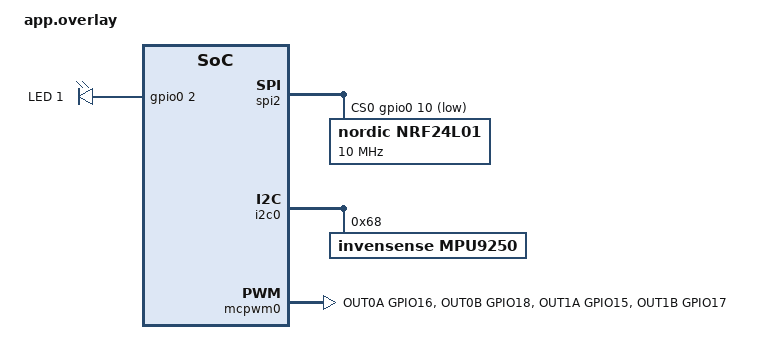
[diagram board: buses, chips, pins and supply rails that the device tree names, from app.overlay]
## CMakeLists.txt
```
# SPDX-License-Identifier: Apache-2.0

cmake_minimum_required(VERSION 3.20.0)
find_package(Zephyr REQUIRED HINTS $ENV{ZEPHYR_BASE})
project(drone)

target_sources(app PRIVATE
    src/main.c
    src/drone_receiver.c
    src/drone_mp9250.c
    src/drone_mc_controller.c
    src/drone_fsm.c
    src/drone_webserver.c
)
```

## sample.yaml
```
sample:
  name: Drone complete code
tests:
  sample.basic.blinky:
    tags:
      - LED
      - gpio
    filter: dt_enabled_alias_with_parent_compat("led0", "gpio-leds")
    depends_on: gpio
    harness: led
    integration_platforms:
      - frdm_k64f
```

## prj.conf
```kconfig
# Enable SPI
CONFIG_SPI=y

# Enable I2C (MPU9250)
CONFIG_I2C=y

# Enable FPU for float math (complementary filter)
CONFIG_FPU=y

# Enable GPIO
CONFIG_GPIO=y

# Enable PWM (MCPWM — 4-motor ESC control)
CONFIG_PWM=y

# Enable logging
CONFIG_LOG=y
CONFIG_LOG_MODE_IMMEDIATE=y

# Enable necessary kernel features

# Console and UART for logging
CONFIG_CONSOLE=y
CONFIG_UART_CONSOLE=y
CONFIG_SERIAL=y

# Disable Bluetooth if not needed
CONFIG_BT=n

# Logging
CONFIG_LOG=y
CONFIG_LOG_MODE_IMMEDIATE=y

# Enable the driver
#CONFIG_NRF24L01=y

CONFIG_ESP32_USE_UNSUPPORTED_REVISION=y

# ── WiFi ────────────────────────────────────────────────────────────
# WIFI_ESP32 is auto-enabled when DT has wifi/wifi_ap node with status=okay.
# It auto-selects NET_L2_ETHERNET, NET_L2_WIFI_MGMT, MBEDTLS.
CONFIG_WIFI=y
CONFIG_WIFI_NM=y
CONFIG_WIFI_NM_MAX_MANAGED_INTERFACES=2

# ── Net management events ────────────────────────────────────────────
CONFIG_NET_MGMT=y
CONFIG_NET_MGMT_EVENT=y
CONFIG_NET_MGMT_EVENT_INFO=y
CONFIG_NET_MGMT_EVENT_QUEUE_SIZE=10
CONFIG_NET_MGMT_EVENT_STACK_SIZE=2048

# Disable auto network config (we set IPs manually in code)
CONFIG_NET_CONFIG_AUTO_INIT=n

# Two IPv4 addresses: one for AP interface, one reserved for STA
CONFIG_NET_IF_MAX_IPV4_COUNT=2

# ── IPv4 TCP/IP stack ────────────────────────────────────────────────
CONFIG_NETWORKING=y
CONFIG_NET_IPV4=y
CONFIG_NET_TCP=y
CONFIG_NET_SOCKETS=y

# ── DHCP server (distributes IPs to WiFi clients) ───────────────────
CONFIG_NET_DHCPV4_SERVER=y

# ── Network buffers (sized for WiFi throughput) ──────────────────────
CONFIG_NET_PKT_RX_COUNT=16
CONFIG_NET_PKT_TX_COUNT=16
CONFIG_NET_BUF_RX_COUNT=64
CONFIG_NET_BUF_TX_COUNT=64
CONFIG_NET_BUF_DATA_SIZE=512

# ── Memory / thread stacks ───────────────────────────────────────────
CONFIG_HEAP_MEM_POOL_SIZE=65536
# main() only creates the FSM thread and returns.
CONFIG_MAIN_STACK_SIZE=2048
# Networking threads — defaults are sized for simple scenarios;
# WiFi AP + DHCP + TCP HTTP needs more headroom in every layer.
# Previous crashes (in order): sysworkq (1024), net_socket_service (2400).
CONFIG_SYSTEM_WORKQUEUE_STACK_SIZE=4096
CONFIG_NET_SOCKETS_SERVICE_STACK_SIZE=4096
CONFIG_NET_RX_STACK_SIZE=4096
CONFIG_NET_TCP_WORKQ_STACK_SIZE=4096
CONFIG_NET_TX_STACK_SIZE=2048
# Detect stack overflows with a clear "Stack overflow" panic.
CONFIG_STACK_SENTINEL=y

# ── Thread names visible in RTT/UART logs ───────────────────────────
CONFIG_THREAD_NAME=y
```

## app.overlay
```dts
/ {
    aliases {
        led1 = &led_1;
    };

    /* Soft-AP network interface — net_if_get_wifi_sap() returns this */
    wifi_ap: wifi_ap {
        compatible = "espressif,esp32-wifi";
        status = "okay";
    };

    leds {
        compatible = "gpio-leds";
        led_1: led_1 {
            gpios = <&gpio0 2 GPIO_ACTIVE_HIGH>;
            label = "LED 1";
        };
    };
};



/*
 * Overlay simplifié pour ESP32 avec nRF24L01
 */



&spi2 {
    status = "okay";
    cs-gpios = <&gpio0 10 GPIO_ACTIVE_LOW>;
      nrf24l01: nrf24l01@0 {
        compatible = "nordic,nrf24l01";
        reg = <0>;
        spi-max-frequency = <10000000>;
    };
};

&i2c0 {
    status = "okay";
    mpu9250@68 {
        compatible = "invensense,mpu9250";
        reg = <0x68>;
        label = "MPU9250";

        /* PROPRIÉTÉS OBLIGATOIRES */
        gyro-sr-div = <0>;          // Sample rate divider
        gyro-dlpf = <250>;            // Digital low pass filter
        gyro-fs = <250>;              // Full scale (0 = 250 dps)

        accel-dlpf = "218.1";
        accel-fs = <8>;
    };
};


#include <zephyr/dt-bindings/pwm/pwm.h>

/* ── Pin control ───────────────────────────────────────────────────── */
&pinctrl {
    mcpwm0_default: mcpwm0_default {

        /* FIX: Timer 0 outputs in their own group */
        group1 {
            pinmux = <MCPWM0_OUT0A_GPIO16>,  /* Motor 1 — ch 0 */
                     <MCPWM0_OUT0B_GPIO18>,  /* Motor 2 — ch 1 */
					 <MCPWM0_OUT1A_GPIO15>,  /* Motor 3 — ch 2 */
                     <MCPWM0_OUT1B_GPIO17>;  /* Motor 4 — ch 3 */
            output-enable;
        };

       
    };
};

/* ── MCPWM peripheral ──────────────────────────────────────────────── */
&mcpwm0 {
    status = "okay";
    pinctrl-0 = <&mcpwm0_default>;
    pinctrl-names = "default";

    /* FIX: prescale recalculated for 1 µs resolution (was 255) */
    prescale        = <7>;    /* 160 MHz / 8  = 20 MHz          */

    /* FIX: timer0 prescale corrected (was 124 → ~200 µs/count) */
    prescale-timer0 = <19>;   /* 20 MHz  / 20 =  1 MHz (1 µs)  */

    /* FIX: timer1 prescale added — required for channels 2 & 3  */
    prescale-timer1 = <19>;   /* same resolution for motors 3&4 */
};
```

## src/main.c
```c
#include <zephyr/kernel.h>
#include "drone_fsm.h"

/* Give the FSM its own clean stack — no Zephyr pre-main overhead here.
 * 16 KB accommodates I2C/SPI driver call chains + interrupt frames. */
#define FSM_STACK_SIZE  16384
K_THREAD_STACK_DEFINE(fsm_stack, FSM_STACK_SIZE);
static struct k_thread fsm_thread;

static void fsm_entry(void *a, void *b, void *c)
{
    drone_fsm_run();
}

int main(void)
{
    k_thread_create(&fsm_thread, fsm_stack,
                    K_THREAD_STACK_SIZEOF(fsm_stack),
                    fsm_entry, NULL, NULL, NULL,
                    5, 0, K_NO_WAIT);
    k_thread_name_set(&fsm_thread, "drone_fsm");
    return 0;
}
```

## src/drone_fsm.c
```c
#include <zephyr/kernel.h>
#include <zephyr/logging/log.h>

#include "drone_fsm.h"
#include "drone_receiver.h"
#include "drone_mpu9250.h"
#include "drone_mc_controller.h"
#include "drone_webserver.h"

LOG_MODULE_REGISTER(drone_fsm, LOG_LEVEL_INF);

/* ── Tuning ────────────────────────────────────────────────────────────
 *
 * ARM_CONFIRM_MS      : pilot must hold throttle=0 + drone_active=true
 *                       for this long before the drone arms (anti-accident)
 *
 * FAILSAFE_TIMEOUT_MS : after signal loss, wait this long for recovery
 *                       before triggering auto-landing
 *
 * LANDING_STEP_MS     : interval between each throttle decrement in LANDING
 * LANDING_STEP_PCT    : % of throttle dropped each step
 *                       total landing time ≈ (100/STEP) * STEP_MS
 *
 * THROTTLE_FLY_THRESHOLD : raw y_left (0-1023) above which the drone is
 *                          considered "flying" and RC mixing is applied
 *
 * FAILSAFE_HOLD_PCT   : constant throttle (%) applied while waiting for
 *                       signal recovery in FAILSAFE — tune to approximate
 *                       the hover point of your drone
 * ──────────────────────────────────────────────────────────────────── */
#define ARM_CONFIRM_MS          500U
#define FAILSAFE_TIMEOUT_MS    2000U
#define LANDING_STEP_MS         200U
#define LANDING_STEP_PCT          2U
#define THROTTLE_FLY_THRESHOLD   50
#define FAILSAFE_HOLD_PCT        25U

/* ── Module state ─────────────────────────────────────────────────── */
static drone_state_t current_state = DRONE_STATE_INIT;
static int64_t       state_enter_ms;

/* LANDING context */
static uint8_t  landing_throttle;
static int64_t  last_landing_step_ms;

/* ── Internal helpers ─────────────────────────────────────────────── */

static void enter_state(drone_state_t next)
{
    LOG_INF("FSM: %s -> %s",
            drone_fsm_state_name(current_state),
            drone_fsm_state_name(next));
    current_state  = next;
    state_enter_ms = k_uptime_get();
}

/* Arm condition: remote is on AND throttle stick at minimum */
static bool arm_condition(const struct DataPackage *rc)
{
    return rc->drone_active && (rc->y_left <= 0);
}

/* ── State handlers ───────────────────────────────────────────────── */

static void state_idle(const struct DataPackage *rc)
{
    motors_set_all(0);

    if (arm_condition(rc)) {
        enter_state(DRONE_STATE_ARMING);
    }
}

static void state_arming(const struct DataPackage *rc)
{
    motors_set_all(0);

    if (!arm_condition(rc)) {
        /* Pilot moved throttle or signal dropped — abort */
        enter_state(DRONE_STATE_IDLE);
        return;
    }

    if ((k_uptime_get() - state_enter_ms) >= ARM_CONFIRM_MS) {
        LOG_INF("Drone ARMED — raise throttle to fly");
        enter_state(DRONE_STATE_ARMED);
    }
}

static void state_armed(const struct DataPackage *rc)
{
    motors_set_all(0);

    if (!rc->drone_active) {
        LOG_INF("RC lost while ARMED — disarming");
        enter_state(DRONE_STATE_IDLE);
        return;
    }

    if (rc->y_left > THROTTLE_FLY_THRESHOLD) {
        enter_state(DRONE_STATE_FLYING);
    }
}

static void state_flying(const struct DataPackage *rc)
{
    if (!rc->drone_active) {
        LOG_WRN("Signal lost in flight — FAILSAFE");
        enter_state(DRONE_STATE_FAILSAFE);
        return;
    }

    /* Throttle back to zero: pilot landed */
    if (rc->y_left <= 0) {
        motors_set_all(0);
        enter_state(DRONE_STATE_ARMED);
        return;
    }

    motors_set_from_rc(rc);
}

static void state_failsafe(const struct DataPackage *rc)
{
    if (rc->drone_active) {
        LOG_INF("Signal recovered — resuming FLYING");
        enter_state(DRONE_STATE_FLYING);
        return;
    }

    if ((k_uptime_get() - state_enter_ms) >= FAILSAFE_TIMEOUT_MS) {
        LOG_WRN("Failsafe timeout — auto-landing");
        landing_throttle  = FAILSAFE_HOLD_PCT;
        last_landing_step_ms = k_uptime_get();
        enter_state(DRONE_STATE_LANDING);
        return;
    }

    /* Hold a low throttle while waiting for signal recovery.
     * NOTE: without a PID loop this is open-loop — tune FAILSAFE_HOLD_PCT
     * to your drone's approximate hover point so it descends slowly. */
    motors_set_all(FAILSAFE_HOLD_PCT);
}

static void state_landing(const struct DataPackage *rc)
{
    (void)rc;

    if (landing_throttle == 0) {
        motors_set_all(0);
        LOG_INF("Landing complete");
        enter_state(DRONE_STATE_IDLE);
        return;
    }

    int64_t now = k_uptime_get();
    if ((now - last_landing_step_ms) >= LANDING_STEP_MS) {
        if (landing_throttle > LANDING_STEP_PCT) {
            landing_throttle -= LANDING_STEP_PCT;
        } else {
            landing_throttle = 0;
        }
        motors_set_all(landing_throttle);
        last_landing_step_ms = now;
    }
}

static void state_error(const struct DataPackage *rc)
{
    (void)rc;
    motors_set_all(0);
    /* Stay here until hardware reset */
}

/* ── Public API ───────────────────────────────────────────────────── */

drone_state_t drone_fsm_get_state(void)
{
    return current_state;
}

const char *drone_fsm_state_name(drone_state_t state)
{
    switch (state) {
    case DRONE_STATE_INIT:     return "INIT";
    case DRONE_STATE_IDLE:     return "IDLE";
    case DRONE_STATE_ARMING:   return "ARMING";
    case DRONE_STATE_ARMED:    return "ARMED";
    case DRONE_STATE_FLYING:   return "FLYING";
    case DRONE_STATE_FAILSAFE: return "FAILSAFE";
    case DRONE_STATE_LANDING:  return "LANDING";
    case DRONE_STATE_ERROR:    return "ERROR";
    default:                   return "UNKNOWN";
    }
}

void drone_fsm_run(void)
{
    /* ── Hardware init ───────────────────────────────────────────── */
    nrf_driver_init();

    if (motor_esc_init() < 0) {
        LOG_ERR("ESC init failed");
        enter_state(DRONE_STATE_ERROR);
        goto loop;
    }

    if (mpu9250_driver_init() < 0) {
        LOG_ERR("MPU9250 init failed");
        motors_set_all(0);
        enter_state(DRONE_STATE_ERROR);
        goto loop;
    }

    /* Start WiFi AP + HTTP control server in background */
    drone_webserver_start();

    enter_state(DRONE_STATE_IDLE);

loop:
    /* ── Main loop at MPU9250_LOOP_HZ (250 Hz) ──────────────────── */
    while (1) {
        int64_t t_start = k_uptime_get();

        if (mpu9250_update() < 0 && current_state != DRONE_STATE_ERROR) {
            LOG_ERR("IMU read error — ERROR");
            motors_set_all(0);
            enter_state(DRONE_STATE_ERROR);
        }

        /* NRF24 RC packet (last received, never cleared on signal loss) */
        struct DataPackage rc = read_data();

        /* WiFi RC overrides NRF24 when the web interface is active.
         * drone_webserver_get_rc() returns active=false if no POST
         * was received in the last 500 ms (stale guard).            */
        struct DataPackage wifi_rc = drone_webserver_get_rc();
        if (wifi_rc.drone_active) {
            rc = wifi_rc;
        }

        switch (current_state) {
        case DRONE_STATE_INIT:
        case DRONE_STATE_IDLE:     state_idle(&rc);     break;
        case DRONE_STATE_ARMING:   state_arming(&rc);   break;
        case DRONE_STATE_ARMED:    state_armed(&rc);    break;
        case DRONE_STATE_FLYING:   state_flying(&rc);   break;
        case DRONE_STATE_FAILSAFE: state_failsafe(&rc); break;
        case DRONE_STATE_LANDING:  state_landing(&rc);  break;
        case DRONE_STATE_ERROR:    state_error(&rc);    break;
        }

        /* Deadline sleep to maintain 250 Hz */
        int64_t elapsed = k_uptime_get() - t_start;
        int32_t sleep   = MPU9250_LOOP_MS - (int32_t)elapsed;
        if (sleep > 0) {
            k_sleep(K_MSEC(sleep));
        }
    }
}
```

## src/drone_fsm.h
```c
#ifndef DRONE_FSM_H
#define DRONE_FSM_H

typedef enum {
    DRONE_STATE_INIT      = 0,
    DRONE_STATE_IDLE      = 1,
    DRONE_STATE_ARMING    = 2,
    DRONE_STATE_ARMED     = 3,
    DRONE_STATE_FLYING    = 4,
    DRONE_STATE_FAILSAFE  = 5,
    DRONE_STATE_LANDING   = 6,
    DRONE_STATE_ERROR     = 7,
} drone_state_t;

/* Start the FSM — never returns */
void drone_fsm_run(void);

/* Read current state */
drone_state_t drone_fsm_get_state(void);

/* Human-readable name for logging */
const char *drone_fsm_state_name(drone_state_t state);

#endif /* DRONE_FSM_H */
```

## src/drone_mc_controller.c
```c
/*
 * drone_mc_controller.c — 4-motor ESC control via MCPWM (ESP32-S3 / Zephyr RTOS)
 *
 * Channel → GPIO mapping:
 *   Channel 0 → GPIO 18  (Motor 1 — Front-Left)
 *   Channel 1 → GPIO 17  (Motor 2 — Front-Right)
 *   Channel 2 → GPIO 16  (Motor 3 — Rear-Left)
 *   Channel 3 → GPIO 15  (Motor 4 — Rear-Right)
 */

#include <zephyr/kernel.h>
#include <zephyr/drivers/pwm.h>
#include <zephyr/logging/log.h>

#include "drone_mc_controller.h"

LOG_MODULE_REGISTER(esc_4motors, LOG_LEVEL_INF);

/* ── PWM device ─────────────────────────────────────────────────────── */
#define ESC_PWM_NODE  DT_NODELABEL(mcpwm0)

/* ── Channels (match overlay pin mapping) ───────────────────────────── */
#define NUM_MOTORS  4

/* ── Timing (nanoseconds) ───────────────────────────────────────────── */
#define ESC_PERIOD_NS      20000000U  /* 20 ms  = 50 Hz          */
#define ESC_PULSE_MIN_NS    1000000U  /* 1000 µs = disarmed/idle */
#define ESC_PULSE_MAX_NS    2000000U  /* 2000 µs = full throttle */
#define ESC_ARM_MS             3000U  /* arming hold time        */

/* Motor channel lookup table */
static const uint8_t motor_ch[NUM_MOTORS] = {
    MOTOR_FRONT_LEFT,   /* 0 — GPIO 18 */
    MOTOR_FRONT_RIGHT,  /* 1 — GPIO 17 */
    MOTOR_REAR_LEFT,    /* 2 — GPIO 16 */
    MOTOR_REAR_RIGHT,   /* 3 — GPIO 15 */
};

static const struct device *esc_pwm;

/* ── Low-level helper ───────────────────────────────────────────────── */

/**
 * @brief  Send a raw pulse width (µs) to one motor channel.
 *         Clamped to [1000, 2000] µs.
 */
static int motor_set_pulse_us(uint8_t motor_idx, uint32_t pulse_us)
{
    if (motor_idx >= NUM_MOTORS) {
        return -EINVAL;
    }
    if (pulse_us < 1000U) { pulse_us = 1000U; }
    if (pulse_us > 2000U) { pulse_us = 2000U; }

    int ret = pwm_set(esc_pwm,
                      motor_ch[motor_idx],
                      ESC_PERIOD_NS,
                      pulse_us * 1000U,      /* µs → ns */
                      PWM_POLARITY_NORMAL);
    if (ret) {
        LOG_ERR("Motor %u pwm_set failed: %d", motor_idx + 1, ret);
    }
    return ret;
}

/* ── Public API ─────────────────────────────────────────────────────── */

int motor_set_throttle(uint8_t motor_idx, uint8_t percent)
{
    if (percent > 100U) { percent = 100U; }

    uint32_t pulse_us = 1000U + (uint32_t)percent * 10U;
    LOG_DBG("Motor %u → %3u%%  (%u µs)", motor_idx + 1, percent, pulse_us);
    return motor_set_pulse_us(motor_idx, pulse_us);
}

int motors_set_all(uint8_t percent)
{
    int ret = 0;
    for (uint8_t i = 0; i < NUM_MOTORS; i++) {
        ret |= motor_set_throttle(i, percent);
    }
    return ret;
}

/* ── Arming sequence (called by motor_esc_init) ─────────────────────── */

static int esc_arm_all(void)
{
    LOG_INF("Arming ESCs — holding 1000 µs for %u ms ...", ESC_ARM_MS);

    for (uint8_t i = 0; i < NUM_MOTORS; i++) {
        int ret = motor_set_pulse_us(i, 1000U);
        if (ret) {
            LOG_ERR("Arm failed on motor %u", i + 1);
            return ret;
        }
    }

    k_sleep(K_MSEC(ESC_ARM_MS));
    LOG_INF("All ESCs armed.");
    return 0;
}

/* ── Init ────────────────────────────────────────────────────────────── */

int motor_esc_init(void)
{
    esc_pwm = DEVICE_DT_GET(ESC_PWM_NODE);
    if (!device_is_ready(esc_pwm)) {
        LOG_ERR("PWM device not ready!");
        return -ENODEV;
    }

    LOG_INF("PWM device ready — starting ESC arming sequence.");
    return esc_arm_all();
}

/* ── RC mixing ───────────────────────────────────────────────────────── */

void motors_set_from_rc(const struct DataPackage *rc)
{
    /* Persistent state across calls */
    static int64_t last_update_ms;   /* timestamp of last motor write     */
    static int32_t throttle_smooth;  /* ramped throttle value (0-80%)     */
    static uint8_t last_pct[NUM_MOTORS]; /* last applied value per motor  */

    /* Safety: immediate disarm bypasses all rate-limiting */
    if (!rc->drone_active) {
        for (uint8_t i = 0; i < NUM_MOTORS; i++) last_pct[i] = 0;
        throttle_smooth = 0;
        last_update_ms  = 0;
        motors_set_all(0);
        return;
    }

    /* Self-rate-limit to 50 Hz to match the ESC PWM period (20 ms).
     * Calling pwm_set() more often than once per period risks updating
     * the MCPWM compare register mid-pulse → spurious partial pulses → jerks. */
    int64_t now = k_uptime_get();
    if ((now - last_update_ms) < 20) {
        return;
    }
    last_update_ms = now;

    /* Throttle ramp: limit how fast the base throttle can change.
     *   +2 %/call × 50 Hz =  100 %/s ramp-up  (smooth takeoff)
     *   −5 %/call × 50 Hz = −250 %/s ramp-down (quicker descent)
     * Attitude corrections (roll/pitch/yaw) bypass the ramp — they must
     * respond immediately for stability. */
    int32_t throttle_target = ((int32_t)rc->y_left * MOTOR_THROTTLE_MAX) / RC_MAX;
    int32_t diff = throttle_target - throttle_smooth;
    if (diff >  2) diff =  2;
    if (diff < -5) diff = -5;
    throttle_smooth += diff;

    /* Attitude mixing (unramped) */
    int32_t roll  = ((int32_t)(rc->x_right - RC_CENTER) * MOTOR_MIXING_MAX)
                    / (RC_MAX / 2);
    int32_t pitch = ((int32_t)(rc->y_right - RC_CENTER) * MOTOR_MIXING_MAX)
                    / (RC_MAX / 2);
    int32_t yaw   = ((int32_t)(rc->x_left  - RC_CENTER) * MOTOR_MIXING_MAX)
                    / (RC_MAX / 2);

    /*
     * Standard X-frame quadrotor mixing:
     *
     *          FRONT
     *   M1(CCW) │ M2(CW)
     *   ────────┼────────
     *   M3(CW)  │ M4(CCW)
     *          REAR
     *
     *   M1 Front-Left  = T + Pitch + Roll − Yaw
     *   M2 Front-Right = T + Pitch − Roll + Yaw
     *   M3 Rear-Left   = T − Pitch + Roll + Yaw
     *   M4 Rear-Right  = T − Pitch − Roll − Yaw
     */
    int32_t m[NUM_MOTORS];
    m[MOTOR_FRONT_LEFT]  = throttle_smooth + pitch + roll - yaw;
    m[MOTOR_FRONT_RIGHT] = throttle_smooth + pitch - roll + yaw;
    m[MOTOR_REAR_LEFT]   = throttle_smooth - pitch + roll + yaw;
    m[MOTOR_REAR_RIGHT]  = throttle_smooth - pitch - roll - yaw;

    /* Apply — only call pwm_set() when the value actually changes.
     * Avoids redundant register writes at 250 Hz for a constant throttle. */
    for (uint8_t i = 0; i < NUM_MOTORS; i++) {
        uint8_t pct = (uint8_t)(m[i] < 0 ? 0 : m[i] > 100 ? 100 : m[i]);
        if (pct != last_pct[i]) {
            last_pct[i] = pct;
            motor_set_throttle(i, pct);
        }
    }

    LOG_DBG("T:%d R:%d P:%d Y:%d → M:%d %d %d %d",
            (int)throttle_smooth, (int)roll, (int)pitch, (int)yaw,
            (int)last_pct[0], (int)last_pct[1],
            (int)last_pct[2], (int)last_pct[3]);
}
```

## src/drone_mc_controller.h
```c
/*
 * drone_mc_controller.h — Public API for 4-motor ESC control (MCPWM/PWM)
 *
 * Motor layout (X-frame quadrotor):
 *
 *          FRONT
 *    M1 (CCW) | M2 (CW)
 *    ---------+---------
 *    M3 (CW)  | M4 (CCW)
 *          REAR
 *
 * Channel → GPIO mapping:
 *   Motor 1 (Front-Left)  → GPIO 18
 *   Motor 2 (Front-Right) → GPIO 17
 *   Motor 3 (Rear-Left)   → GPIO 16
 *   Motor 4 (Rear-Right)  → GPIO 15
 */

#ifndef DRONE_MC_CONTROLLER_H
#define DRONE_MC_CONTROLLER_H

#include <stdint.h>
#include "drone_receiver.h"

/* ── Motor indices ──────────────────────────────────────────────────── */
#define MOTOR_FRONT_LEFT    0   /**< Channel 0 — GPIO 18 */
#define MOTOR_FRONT_RIGHT   1   /**< Channel 1 — GPIO 17 */
#define MOTOR_REAR_LEFT     2   /**< Channel 2 — GPIO 16 */
#define MOTOR_REAR_RIGHT    3   /**< Channel 3 — GPIO 15 */

/* ── RC input range (raw int16_t from the transmitter ADC) ─────────── */
#define RC_MIN      0       /**< Joystick minimum value        */
#define RC_MAX      1023    /**< Joystick maximum value        */
#define RC_CENTER   512     /**< Neutral position (roll/pitch/yaw) */

/* ── Motor output limits ────────────────────────────────────────────── */
#define MOTOR_THROTTLE_MAX  80  /**< Max throttle % (headroom for corrections) */
#define MOTOR_MIXING_MAX    20  /**< Max ± correction per axis (%)             */

/* ──────────────────────────────────────────────────────────────────── */
/* Initialisation                                                        */
/* ──────────────────────────────────────────────────────────────────── */

/**
 * @brief  Initialise the PWM device and run the ESC arming sequence.
 *         Must be called once from main() before any motor command.
 * @return 0 on success, negative errno on failure.
 */
int motor_esc_init(void);

/* ──────────────────────────────────────────────────────────────────── */
/* Per-motor and all-motor helpers                                       */
/* ──────────────────────────────────────────────────────────────────── */

/**
 * @brief  Set the throttle of a single motor.
 * @param  motor_idx  Motor index 0–3 (use MOTOR_FRONT_LEFT … macros).
 * @param  percent    Throttle 0–100 %.  0 % → 1000 µs, 100 % → 2000 µs.
 * @return 0 on success, negative errno on failure.
 */
int motor_set_throttle(uint8_t motor_idx, uint8_t percent);

/**
 * @brief  Set the same throttle on all four motors simultaneously.
 * @param  percent  Throttle 0–100 %.
 * @return 0 on success, negative errno on failure (OR of all channels).
 */
int motors_set_all(uint8_t percent);

/* ──────────────────────────────────────────────────────────────────── */
/* RC-command mixing                                                     */
/* ──────────────────────────────────────────────────────────────────── */

/**
 * @brief  Convert RC joystick commands into motor outputs and apply them.
 *
 *         Joystick assignment:
 *           y_left  → Throttle  (0 … RC_MAX)
 *           x_left  → Yaw       (RC_CENTER = neutral)
 *           y_right → Pitch     (RC_CENTER = neutral)
 *           x_right → Roll      (RC_CENTER = neutral)
 *
 *         X-frame quadrotor mixing:
 *           M1 Front-Left  = Throttle + Pitch + Roll − Yaw
 *           M2 Front-Right = Throttle + Pitch − Roll + Yaw
 *           M3 Rear-Left   = Throttle − Pitch + Roll + Yaw
 *           M4 Rear-Right  = Throttle − Pitch − Roll − Yaw
 *
 *         If drone_active is false all motors are stopped immediately.
 *
 * @param  rc  Pointer to the latest received RC packet.
 */
void motors_set_from_rc(const struct DataPackage *rc);

#endif /* DRONE_MC_CONTROLLER_H */
```

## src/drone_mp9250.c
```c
/*
 * MPU9250 — FPV Drone IMU
 * Zephyr RTOS
 *
 * Features:
 *  - Proper sensor init (DLPF, sample rate, full-scale)
 *  - Gyro static-bias calibration at startup (keep board still!)
 *  - Exponential moving average (EMA) on accelerometer to kill vibrations
 *  - Complementary filter → stable Roll / Pitch in degrees (250 Hz)
 *  - Non-blocking timing loop (deadline based)
 *
 * NOT included yet (next steps for full flight controller):
 *  - Yaw estimation (needs AK8963 magnetometer or GPS heading)
 *  - PID controller
 *  - ESC/motor PWM output
 *  - RC receiver input
 */

#include <zephyr/kernel.h>
#include <zephyr/device.h>
#include <zephyr/drivers/i2c.h>
#include <stdio.h>
#include <math.h>
#include <stdbool.h>
#include "drone_mpu9250.h"

/* M_PI is a POSIX extension, not guaranteed by standard C             */
#ifndef M_PI
#define M_PI 3.14159265358979323846
#endif

/* ------------------------------------------------------------------ */
/* MPU9250 register map                                                 */
/* ------------------------------------------------------------------ */
#define MPU9250_ADDR        0x68

#define REG_SMPLRT_DIV      0x19   /* Sample rate divider              */
#define REG_CONFIG          0x1A   /* DLPF config                      */
#define REG_GYRO_CONFIG     0x1B   /* Gyro full-scale                  */
#define REG_ACCEL_CONFIG    0x1C   /* Accel full-scale                 */
#define REG_ACCEL_CONFIG2   0x1D   /* Accel DLPF                       */
#define REG_ACCEL_OUT       0x3B   /* First data register (14 bytes)   */
#define REG_PWR_MGMT_1      0x6B   /* Power management                 */

/* ------------------------------------------------------------------ */
/* Sensor full-scale & conversion                                       */
/*   ACCEL_FS_SEL = 0 → ±2 g    → 16384 LSB/g                        */
/*   GYRO_FS_SEL  = 0 → ±250 °/s → 131 LSB/(°/s)                     */
/* ------------------------------------------------------------------ */
#define ACCEL_FS_SEL        0
#define GYRO_FS_SEL         0
#define ACCEL_SCALE         16384.0f
#define GYRO_SCALE          131.0f

/* ------------------------------------------------------------------ */
/* Loop timing                                                          */
/* ------------------------------------------------------------------ */
#define LOOP_HZ             250             /* control-loop frequency   */
#define LOOP_MS             (1000 / LOOP_HZ)/* 4 ms per iteration       */
#define DT                  (1.0f / LOOP_HZ)/* seconds                  */

/* ------------------------------------------------------------------ */
/* Complementary filter weight                                          */
/*   0.98 → trust gyro 98 %, correct with accel 2 % each step         */
/*   Increase toward 1.0 if you see drift; decrease if vibration noise */
/* ------------------------------------------------------------------ */
#define CF_ALPHA            0.98f

/* ------------------------------------------------------------------ */
/* Accelerometer exponential moving average (EMA / low-pass filter)    */
/*   LPF_ALPHA = 1.0 → no filter; 0.1 → heavy smoothing               */
/*   For 250 Hz with motor vibrations: 0.1 – 0.2 is a good start      */
/* ------------------------------------------------------------------ */
#define LPF_ALPHA           0.15f

/* ------------------------------------------------------------------ */
/* Gyro calibration                                                     */
/* ------------------------------------------------------------------ */
#define CALIB_SAMPLES       500    /* ~1 s at 2 ms per sample          */

/* ------------------------------------------------------------------ */
/* Print throttle: print every N control-loop cycles                   */
/*   LOOP_HZ / 10 → 10 Hz output (readable on serial terminal)        */
/* ------------------------------------------------------------------ */
#define PRINT_EVERY         (LOOP_HZ / 10)

#define I2C_NODE            DT_NODELABEL(i2c0)

/* ------------------------------------------------------------------ */
/* Globals                                                              */
/* ------------------------------------------------------------------ */
static const struct device *i2c_dev;

/* Internal calibration state */
static float gyro_bias_x = 0.0f;
static float gyro_bias_y = 0.0f;
static float gyro_bias_z = 0.0f;

/* Internal EMA state */
static float lpf_ax = 0.0f;
static float lpf_ay = 0.0f;
static float lpf_az = 0.0f;

/* Public globals — declared extern in drone_mpu9250.h */
attitude_t att        = {0.0f, 0.0f};
float      gyro_x_dps = 0.0f;
float      gyro_y_dps = 0.0f;
float      gyro_z_dps = 0.0f;

/* ================================================================== */
/* I2C helpers                                                          */
/* ================================================================== */
static int write_reg(uint8_t reg, uint8_t val)
{
    uint8_t buf[2] = {reg, val};
    return i2c_write(i2c_dev, buf, 2, MPU9250_ADDR);
}

static int read_regs(uint8_t reg, uint8_t *data, uint8_t len)
{
    return i2c_write_read(i2c_dev, MPU9250_ADDR, &reg, 1, data, len);
}

/* ================================================================== */
/* MPU9250 init                                                         */
/* ================================================================== */
static int mpu9250_init(void)
{
    /*
     * PWR_MGMT_1 = 0x01
     *   SLEEP=0, CYCLE=0, CLKSEL=1 (PLL with X-gyro reference)
     *   Using PLL gives better clock stability than internal oscillator.
     */
    if (write_reg(REG_PWR_MGMT_1, 0x01) < 0) {
        return -1;
    }
    k_sleep(K_MSEC(15)); /* wait for PLL to lock */

    /*
     * SMPLRT_DIV = 0
     *   Output data rate = Gyro rate / (1 + SMPLRT_DIV)
     *   With DLPF enabled gyro rate = 1 kHz → ODR = 1000 Hz
     *   We run our loop at 250 Hz, so the FIFO always has fresh data.
     */
    if (write_reg(REG_SMPLRT_DIV, 0x00) < 0) return -1;

    /*
     * CONFIG = 0x03
     *   DLPF_CFG = 3 → Gyro BW 41 Hz, delay 5.9 ms; Temp BW 42 Hz
     *   Removes high-frequency motor vibration noise from gyro path.
     */
    if (write_reg(REG_CONFIG, 0x03) < 0) return -1;

    /*
     * GYRO_CONFIG: GYRO_FS_SEL = 0 → ±250 °/s
     *   Good for hover / slow manoeuvres; increase to FS=1 (±500)
     *   for more aggressive flying.
     */
    if (write_reg(REG_GYRO_CONFIG, GYRO_FS_SEL << 3) < 0) return -1;

    /*
     * ACCEL_CONFIG: ACCEL_FS_SEL = 0 → ±2 g
     */
    if (write_reg(REG_ACCEL_CONFIG, ACCEL_FS_SEL << 3) < 0) return -1;

    /*
     * ACCEL_CONFIG2: A_DLPF_CFG = 3 → BW 41 Hz, delay 11.8 ms
     *   Matches gyro DLPF to keep both sensors time-aligned.
     */
    if (write_reg(REG_ACCEL_CONFIG2, 0x03) < 0) return -1;

    return 0;
}

/* ================================================================== */
/* Read raw accel + gyro (14 bytes = 6 accel + 2 temp + 6 gyro)       */
/* ================================================================== */
static int read_raw(int16_t *ax, int16_t *ay, int16_t *az,
                    int16_t *gx, int16_t *gy, int16_t *gz)
{
    uint8_t raw[14];

    if (read_regs(REG_ACCEL_OUT, raw, sizeof(raw)) < 0) {
        return -1;
    }

    *ax = (int16_t)((raw[0]  << 8) | raw[1]);
    *ay = (int16_t)((raw[2]  << 8) | raw[3]);
    *az = (int16_t)((raw[4]  << 8) | raw[5]);
    /* raw[6..7] = temperature — ignored here */
    *gx = (int16_t)((raw[8]  << 8) | raw[9]);
    *gy = (int16_t)((raw[10] << 8) | raw[11]);
    *gz = (int16_t)((raw[12] << 8) | raw[13]);

    return 0;
}

/* ================================================================== */
/* Gyro calibration                                                     */
/*   Must be called while the drone is completely stationary.          */
/*   Averages CALIB_SAMPLES readings to find the zero-rate offset.     */
/* ================================================================== */
static void calibrate_gyro(void)
{
    printf("Calibration gyro — ne pas bouger !\n");

    double sum_x = 0.0, sum_y = 0.0, sum_z = 0.0;
    int16_t ax, ay, az, gx, gy, gz;
    int good = 0;

    for (int i = 0; i < CALIB_SAMPLES; i++) {
        if (read_raw(&ax, &ay, &az, &gx, &gy, &gz) == 0) {
            sum_x += gx;
            sum_y += gy;
            sum_z += gz;
            good++;
        }
        k_sleep(K_MSEC(2));
    }

    if (good == 0) {
        printf("ERREUR calibration — aucune donnee valide\n");
        return;
    }

    gyro_bias_x = (float)(sum_x / good) / GYRO_SCALE;
    gyro_bias_y = (float)(sum_y / good) / GYRO_SCALE;
    gyro_bias_z = (float)(sum_z / good) / GYRO_SCALE;

    printf("Biais gyro (dps): X=%.4f  Y=%.4f  Z=%.4f\n",
           gyro_bias_x, gyro_bias_y, gyro_bias_z);
}

/* ================================================================== */
/* Accelerometer exponential moving average (low-pass filter)          */
/*   Attenuates high-frequency motor/frame vibrations.                 */
/*   y[n] = y[n-1] + alpha * (x[n] - y[n-1])                         */
/* ================================================================== */
static void accel_lpf(float ax, float ay, float az,
                      float *out_ax, float *out_ay, float *out_az)
{
    lpf_ax += LPF_ALPHA * (ax - lpf_ax);
    lpf_ay += LPF_ALPHA * (ay - lpf_ay);
    lpf_az += LPF_ALPHA * (az - lpf_az);

    *out_ax = lpf_ax;
    *out_ay = lpf_ay;
    *out_az = lpf_az;
}

/* ================================================================== */
/* Complementary filter                                                 */
/*                                                                      */
/*  Gyro is accurate short-term but drifts over time.                  */
/*  Accel gives absolute angle reference but is noisy under vibration. */
/*  Complementary filter blends both to get stable long-term angles    */
/*  with fast dynamic response.                                         */
/*                                                                      */
/*  roll_acc  = atan2(ay, az)                  (X-axis tilt)           */
/*  pitch_acc = atan2(-ax, sqrt(ay²+az²))      (Y-axis tilt)          */
/*                                                                      */
/*  roll  = alpha*(roll  + gx*dt) + (1-alpha)*roll_acc                 */
/*  pitch = alpha*(pitch + gy*dt) + (1-alpha)*pitch_acc                */
/* ================================================================== */
static void complementary_filter(float ax_f, float ay_f, float az_f,
                                  float gx_f, float gy_f,
                                  attitude_t *att)
{
    /* Accel-derived tilt (degrees) */
    float roll_acc  =  atan2f(ay_f, az_f)
                       * (180.0f / (float)M_PI);
    float pitch_acc =  atan2f(-ax_f, sqrtf(ay_f * ay_f + az_f * az_f))
                       * (180.0f / (float)M_PI);

    /* Gyro integration */
    float roll_gyro  = att->roll_deg  + gx_f * DT;
    float pitch_gyro = att->pitch_deg + gy_f * DT;

    /* Fuse: mostly trust the gyro, slowly correct with accel */
    att->roll_deg  = CF_ALPHA * roll_gyro  + (1.0f - CF_ALPHA) * roll_acc;
    att->pitch_deg = CF_ALPHA * pitch_gyro + (1.0f - CF_ALPHA) * pitch_acc;
}

/* ================================================================== */
/* mpu9250_driver_init                                                  */
/* ================================================================== */
int mpu9250_driver_init(void)
{
    i2c_dev = DEVICE_DT_GET(I2C_NODE);

    if (!device_is_ready(i2c_dev)) {
        printf("I2C non pret !\n");
        return -1;
    }

    if (mpu9250_init() < 0) {
        printf("MPU9250 init echouee !\n");
        return -1;
    }
    printf("MPU9250 pret !\n");

    /* Calibrate gyro (board must be stationary) */
    calibrate_gyro();

    /* Seed LPF with first accel reading so the filter starts correctly */
    {
        int16_t ax, ay, az, gx, gy, gz;
        if (read_raw(&ax, &ay, &az, &gx, &gy, &gz) == 0) {
            lpf_ax = (float)ax / ACCEL_SCALE;
            lpf_ay = (float)ay / ACCEL_SCALE;
            lpf_az = (float)az / ACCEL_SCALE;
        }
    }

    return 0;
}

/* ================================================================== */
/* mpu9250_update                                                       */
/*   Call every MPU9250_LOOP_MS ms. Updates att, gyro_*_dps globals.  */
/* ================================================================== */
int mpu9250_update(void)
{
    int16_t ax_r, ay_r, az_r, gx_r, gy_r, gz_r;

    if (read_raw(&ax_r, &ay_r, &az_r, &gx_r, &gy_r, &gz_r) < 0) {
        return -1;
    }

    /* Convert to physical units */
    float ax_f = (float)ax_r / ACCEL_SCALE;
    float ay_f = (float)ay_r / ACCEL_SCALE;
    float az_f = (float)az_r / ACCEL_SCALE;

    /* Subtract calibrated zero-rate offset */
    float gx_f = (float)gx_r / GYRO_SCALE - gyro_bias_x;
    float gy_f = (float)gy_r / GYRO_SCALE - gyro_bias_y;
    float gz_f = (float)gz_r / GYRO_SCALE - gyro_bias_z;

    /* Accel low-pass filter (removes motor vibrations) */
    float ax_lpf, ay_lpf, az_lpf;
    accel_lpf(ax_f, ay_f, az_f, &ax_lpf, &ay_lpf, &az_lpf);

    /* Complementary filter → attitude angles */
    complementary_filter(ax_lpf, ay_lpf, az_lpf, gx_f, gy_f, &att);

    /* Publish gyro rates for main.c */
    gyro_x_dps = gx_f;
    gyro_y_dps = gy_f;
    gyro_z_dps = gz_f;

    return 0;
}
```

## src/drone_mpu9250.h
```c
#ifndef DRONE_MPU9250_H
#define DRONE_MPU9250_H

/* ------------------------------------------------------------------ */
/* Attitude type                                                         */
/* ------------------------------------------------------------------ */
typedef struct {
    float roll_deg;    /* rotation around X axis (bank left/right) */
    float pitch_deg;   /* rotation around Y axis (nose up/down)    */
} attitude_t;

/* ------------------------------------------------------------------ */
/* Global outputs — updated every mpu9250_update() call               */
/* ------------------------------------------------------------------ */

/* Latest attitude angles from the complementary filter */
extern attitude_t att;

/* Latest calibrated gyro rates (degrees / second) */
extern float gyro_x_dps;
extern float gyro_y_dps;
extern float gyro_z_dps;

/* ------------------------------------------------------------------ */
/* Loop timing — use these in main.c to schedule mpu9250_update()     */
/* ------------------------------------------------------------------ */
#define MPU9250_LOOP_HZ   250
#define MPU9250_LOOP_MS   (1000 / MPU9250_LOOP_HZ)   /* 4 ms */

/* ------------------------------------------------------------------ */
/* Public API                                                           */
/* ------------------------------------------------------------------ */

/**
 * @brief Initialise I2C bus, MPU9250 registers, and calibrate gyro bias.
 *        The board must be completely stationary during calibration (~1 s).
 * @return  0 on success, -1 on hardware error.
 */
int mpu9250_driver_init(void);

/**
 * @brief Read sensor, apply accel LPF + complementary filter,
 *        and update the att / gyro_*_dps globals.
 *        Call every MPU9250_LOOP_MS milliseconds.
 * @return  0 on success, -1 on I2C read error.
 */
int mpu9250_update(void);

#endif /* DRONE_MPU9250_H */
```

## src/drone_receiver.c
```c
#include <zephyr/kernel.h>
#include <zephyr/drivers/gpio.h>
#include <zephyr/drivers/spi.h>
#include <string.h>
#include <stdbool.h>
#include "drone_receiver.h"

const struct device *gpio_dev = DEVICE_DT_GET(DT_NODELABEL(gpio0));

#define CE_PIN   48
#define CSN_PIN  10


#define NRF_CMD_W_REGISTER   0x20
#define NRF_CMD_R_REGISTER   0x00
#define NRF_CMD_W_TX_PAYLOAD 0xA0
#define NRF_CMD_R_RX_PAYLOAD 0x61
#define NRF_CMD_FLUSH_TX     0xE1
#define NRF_CMD_FLUSH_RX     0xE2
#define NRF_CMD_NOP          0xFF

#define REG_CONFIG      0x00
#define REG_EN_AA       0x01
#define REG_EN_RXADDR   0x02
#define REG_SETUP_AW    0x03
#define REG_SETUP_RETR  0x04
#define REG_RF_CH       0x05
#define REG_RF_SETUP    0x06
#define REG_STATUS      0x07
#define REG_RX_ADDR_P0  0x0A
#define REG_TX_ADDR     0x10
#define REG_RX_PW_P0    0x11


uint8_t addr[5] = {'N','O','D','E','1'};


static const struct device *spi_dev;
static struct spi_config spi_cfg;

struct DataPackage data;


static inline void csn_low()
{
    gpio_pin_set(gpio_dev, CSN_PIN, 0);
}

static inline void csn_high()
{
    gpio_pin_set(gpio_dev, CSN_PIN, 1);
}

uint8_t spi_transfer(uint8_t data)
{
    uint8_t tx = data;
    uint8_t rx;

    struct spi_buf tx_buf = {.buf = &tx, .len = 1};
    struct spi_buf rx_buf = {.buf = &rx, .len = 1};

    struct spi_buf_set tx_set = {.buffers = &tx_buf, .count = 1};
    struct spi_buf_set rx_set = {.buffers = &rx_buf, .count = 1};

    csn_low();
    spi_transceive(spi_dev, &spi_cfg, &tx_set, &rx_set);
    csn_high();

    return rx;
}

void nrf_write_reg(uint8_t reg, uint8_t value)
{
    uint8_t tx[2] = {NRF_CMD_W_REGISTER | reg, value};
    uint8_t rx[2];

    struct spi_buf tx_buf = {.buf = tx, .len = 2};
    struct spi_buf rx_buf = {.buf = rx, .len = 2};

    struct spi_buf_set tx_set = {.buffers = &tx_buf, .count = 1};
    struct spi_buf_set rx_set = {.buffers = &rx_buf, .count = 1};

    csn_low();
    spi_transceive(spi_dev, &spi_cfg, &tx_set, &rx_set);
    csn_high();
}

uint8_t nrf_read_reg(uint8_t reg)
{
    uint8_t tx[2] = {NRF_CMD_R_REGISTER | reg, NRF_CMD_NOP};
    uint8_t rx[2];

    struct spi_buf tx_buf = {.buf = tx, .len = 2};
    struct spi_buf rx_buf = {.buf = rx, .len = 2};

    struct spi_buf_set tx_set = {.buffers = &tx_buf, .count = 1};
    struct spi_buf_set rx_set = {.buffers = &rx_buf, .count = 1};

    csn_low();
    spi_transceive(spi_dev, &spi_cfg, &tx_set, &rx_set);
    csn_high();

    return rx[1];
}

void nrf_write_buf(uint8_t cmd, uint8_t *data, int len)
{
    uint8_t tx[33];
    uint8_t rx[33];

    tx[0] = cmd;
    memcpy(&tx[1], data, len);

    struct spi_buf tx_buf = {.buf = tx, .len = len + 1};
    struct spi_buf rx_buf = {.buf = rx, .len = len + 1};

    struct spi_buf_set tx_set = {.buffers = &tx_buf, .count = 1};
    struct spi_buf_set rx_set = {.buffers = &rx_buf, .count = 1};

    csn_low();
    spi_transceive(spi_dev, &spi_cfg, &tx_set, &rx_set);
    csn_high();
}


void nrf_init_rx()
{
    gpio_pin_set(gpio_dev, CE_PIN, 0);

    nrf_write_reg(REG_CONFIG, 0x0F);   // RX mode, CRC enabled, power up
    nrf_write_reg(REG_EN_AA, 0x00);    // disable auto-ack
    nrf_write_reg(REG_EN_RXADDR, 0x01); // enable pipe 0
    nrf_write_reg(REG_SETUP_AW, 0x03); // 5-byte address
    nrf_write_reg(REG_RF_CH, 76);       // channel 76
    nrf_write_reg(REG_RF_SETUP, 0x06); // 1 Mbps, PA MAX (0 dBm)

    nrf_write_buf(NRF_CMD_W_REGISTER | REG_RX_ADDR_P0, addr, 5);

    /* Payload width must match sizeof(DataPackage) on both TX and RX sides */
    nrf_write_reg(REG_RX_PW_P0, sizeof(struct DataPackage));

    gpio_pin_set(gpio_dev, CE_PIN, 1); // start listening
}


void nrf_driver_init(void)
{
    spi_dev = DEVICE_DT_GET(DT_NODELABEL(spi2));

    spi_cfg.frequency = 1000000;
    spi_cfg.operation = SPI_WORD_SET(8) | SPI_TRANSFER_MSB;

    gpio_pin_configure(gpio_dev, CE_PIN,  GPIO_OUTPUT_ACTIVE);
    gpio_pin_configure(gpio_dev, CSN_PIN, GPIO_OUTPUT_ACTIVE);

    nrf_init_rx();
}


struct DataPackage read_data()
{
    uint8_t status = nrf_read_reg(REG_STATUS);

    if (status & 0x40) /* RX_DR bit set: data is ready */
    {
        uint8_t tx[sizeof(struct DataPackage) + 1];
        uint8_t rx[sizeof(struct DataPackage) + 1];

        /* Build SPI transaction: command byte + dummy bytes */
        tx[0] = NRF_CMD_R_RX_PAYLOAD;
        memset(&tx[1], 0xFF, sizeof(struct DataPackage));

        struct spi_buf tx_buf = {.buf = tx, .len = sizeof(tx)};
        struct spi_buf rx_buf = {.buf = rx, .len = sizeof(rx)};

        struct spi_buf_set tx_set = {.buffers = &tx_buf, .count = 1};
        struct spi_buf_set rx_set = {.buffers = &rx_buf, .count = 1};

        csn_low();
        spi_transceive(spi_dev, &spi_cfg, &tx_set, &rx_set);
        csn_high();

        /* rx[0] = status byte, rx[1..N] = payload */
        memcpy(&data, &rx[1], sizeof(data));

        /* Clear RX_DR interrupt flag */
        nrf_write_reg(REG_STATUS, 0x40);

        /* Flush RX FIFO */
        spi_transfer(NRF_CMD_FLUSH_RX);

       /*printf("RC  x_right:%5d  y_right:%5d  x_left:%5d  y_left:%5d  active:%d\n",
                   data.x_right, data.y_right, data.x_left, data.y_left,
                   (int)data.drone_active);*/
        
    }
    return data;
}
```

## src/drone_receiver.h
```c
#ifndef DRONE_RECEIVER_H
#define DRONE_RECEIVER_H

#include <stdint.h>
#include <stdbool.h>

/* Shared data structure — must match the transmitter side exactly */
struct DataPackage {
    int16_t x_right;
    int16_t y_right;
    int16_t x_left;
    int16_t y_left;
    bool    drone_active;
} __attribute__((packed));  /* packed: sizeof = 9 on all platforms */

/* Global latest received packet — updated by read_data() */
extern struct DataPackage data;

/* Public API */
void               nrf_driver_init(void);   /* call once from main() */
struct DataPackage read_data(void);

#endif /* DRONE_RECEIVER_H */
```

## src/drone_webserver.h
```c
#ifndef DRONE_WEBSERVER_H
#define DRONE_WEBSERVER_H

#include "drone_receiver.h"

/*
 * Start WiFi Soft-AP and HTTP control server in a background thread.
 * Call once from drone_fsm_run() after hardware init.
 *
 * AP SSID : "DroneControl"  (open, no password)
 * ESP32 IP : 192.168.4.1
 * HTTP port : 80
 *
 * Endpoints:
 *   GET  /           → HTML control page (joysticks + telemetry)
 *   GET  /telemetry  → JSON  {"roll":X,"pitch":X,"gyro_z":X,"state":"FLYING"}
 *   POST /control    → JSON  {"throttle":0.0-1.0,"yaw":-1–1,"pitch":-1–1,"roll":-1–1,"active":bool}
 */
void drone_webserver_start(void);

/*
 * Return the latest RC packet received via the web interface.
 * drone_active is forced false if no /control POST was received in the last 500 ms.
 */
struct DataPackage drone_webserver_get_rc(void);

#endif /* DRONE_WEBSERVER_H */
```
